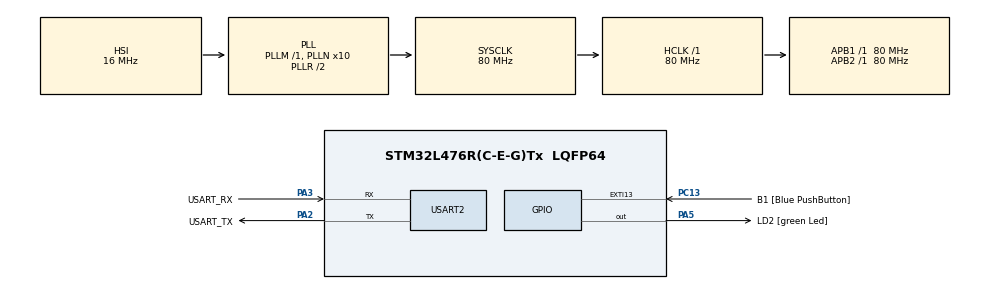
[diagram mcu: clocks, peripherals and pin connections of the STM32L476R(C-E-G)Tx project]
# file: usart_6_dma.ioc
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Dma.Request0=USART2_RX
Dma.USART2_RX.0.Direction=DMA_PERIPH_TO_MEMORY
Dma.USART2_RX.0.Instance=DMA1_Channel6
Dma.USART2_RX.0.MemDataAlignment=DMA_MDATAALIGN_BYTE
Dma.USART2_RX.0.MemInc=DMA_MINC_ENABLE
Dma.USART2_RX.0.Mode=DMA_NORMAL
Dma.USART2_RX.0.PeriphDataAlignment=DMA_PDATAALIGN_BYTE
Dma.USART2_RX.0.PeriphInc=DMA_PINC_DISABLE
Dma.USART2_RX.0.Priority=DMA_PRIORITY_LOW
Mcu.Family=STM32L4
Mcu.Name=STM32L476R(C-E-G)Tx
Mcu.Package=LQFP64
NVIC.DMA1_Channel6_IRQn=true\:0\:0\:false\:false\:true\:false\:true\:true
NVIC.PriorityGroup=NVIC_PRIORITYGROUP_2
NVIC.USART2_IRQn=true\:1\:0\:true\:false\:true\:true\:true\:true
PA13\ (JTMS-SWDIO).GPIO_Label=TMS
PA13\ (JTMS-SWDIO).Mode=Serial_Wire
PA13\ (JTMS-SWDIO).Signal=SYS_JTMS-SWDIO
PA14\ (JTCK-SWCLK).GPIO_Label=TCK
PA14\ (JTCK-SWCLK).Mode=Serial_Wire
PA14\ (JTCK-SWCLK).Signal=SYS_JTCK-SWCLK
PA2.GPIO_Label=USART_TX
PA2.GPIO_Mode=GPIO_MODE_AF_PP
PA2.GPIO_PuPd=GPIO_NOPULL
PA2.GPIO_Speed=GPIO_SPEED_FREQ_VERY_HIGH
PA2.Mode=Asynchronous
PA2.Signal=USART2_TX
PA3.GPIO_Label=USART_RX
PA3.GPIO_Mode=GPIO_MODE_AF_PP
PA3.GPIO_PuPd=GPIO_NOPULL
PA3.GPIO_Speed=GPIO_SPEED_FREQ_VERY_HIGH
PA3.Mode=Asynchronous
PA3.Signal=USART2_RX
PA5.GPIO_Label=LD2 [green Led]
PA5.GPIO_ModeDefaultOutputPP=GPIO_MODE_OUTPUT_PP
PA5.GPIO_PuPd=GPIO_NOPULL
PA5.GPIO_Speed=GPIO_SPEED_FREQ_LOW
PA5.Signal=GPIO_Output
PB3\ (JTDO-TRACESWO).GPIO_Label=SWO
PB3\ (JTDO-TRACESWO).Signal=SYS_JTDO-SWO
PC13.GPIO_Label=B1 [Blue PushButton]
PC13.GPIO_ModeDefaultEXTI=GPIO_MODE_IT_FALLING
PC13.GPIO_PuPd=GPIO_NOPULL
PC13.Signal=GPXTI13
PC14-OSC32_IN\ (PC14).Mode=LSE-External-Oscillator
PC14-OSC32_IN\ (PC14).Signal=RCC_OSC32_IN
PC15-OSC32_OUT\ (PC15).Mode=LSE-External-Oscillator
PC15-OSC32_OUT\ (PC15).Signal=RCC_OSC32_OUT
PH0-OSC_IN\ (PH0).Signal=RCC_OSC_IN
PH1-OSC_OUT\ (PH1).Signal=RCC_OSC_OUT
ProjectManager.HeapSize=0x200
ProjectManager.StackSize=0x400
ProjectManager.TargetToolchain=STM32CubeIDE
RCC.ADCFreq_Value=64000000
RCC.AHBFreq_Value=80000000
RCC.APB1Freq_Value=80000000
RCC.APB1TimFreq_Value=80000000
RCC.APB2Freq_Value=80000000
RCC.APB2TimFreq_Value=80000000
RCC.CortexFreq_Value=80000000
RCC.HCLKFreq_Value=80000000
RCC.HSE_VALUE=8000000
RCC.HSI_VALUE=16000000
RCC.MSI_VALUE=4000000
RCC.PLLN=10
RCC.PLLSourceVirtual=RCC_PLLSOURCE_HSI
RCC.PREFETCH_ENABLE=1
RCC.SYSCLKFreq_VALUE=80000000
RCC.SYSCLKSource=RCC_SYSCLKSOURCE_PLLCLK
RCC.USBFreq_Value=64000000
RCC.VCOOutputFreq_Value=160000000
USART2.VirtualMode-Asynchronous=VM_ASYNC
board=NUCLEO-L476RG

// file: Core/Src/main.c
/* USER CODE BEGIN Header */
/**
  ******************************************************************************
  * @file           : main.c
  * @brief          : Main program body
  ******************************************************************************
  * @attention
  *
  * Copyright (c) 2022 STMicroelectronics.
  * All rights reserved.
  *
  * This software is licensed under terms that can be found in the LICENSE file
  * in the root directory of this software component.
  * If no LICENSE file comes with this software, it is provided AS-IS.
  *
  ******************************************************************************
  */
/* USER CODE END Header */
#include "main.h"

/* USER CODE BEGIN Includes */
#include "string.h"

/* USER CODE END Includes */

 UART_HandleTypeDef huart2;
DMA_HandleTypeDef hdma_usart2_rx;

/* USER CODE BEGIN PV */
char lf[] = "\n\r";

/* USER CODE END PV */

void SystemClock_Config(void);
static void MX_GPIO_Init(void);
static void MX_DMA_Init(void);
static void MX_USART2_UART_Init(void);

/* USER CODE BEGIN 0 */

//#define RxBuf_SIZE   512
//#define MainBuf_SIZE 2048

#define RxBuf_SIZE   10
#define MainBuf_SIZE 20

uint8_t RxBuf[RxBuf_SIZE];
uint8_t MainBuf[MainBuf_SIZE];

uint16_t oldPos = 0;
uint16_t newPos = 0;

void HAL_UARTEx_RxEventCallback(UART_HandleTypeDef *huart, uint16_t Size)
{
	if (huart->Instance == USART2)
	{
		oldPos = newPos;  // Update the last position before copying new data

		/* If the data in large and it is about to exceed the buffer size, we have to route it to the start of the buffer
		 * This is to maintain the circular buffer
		 * The old data in the main buffer will be overlapped
		 */
		if (oldPos+Size > MainBuf_SIZE)  // If the current position + new data size is greater than the main buffer
		{
			uint16_t datatocopy = MainBuf_SIZE-oldPos;  // find out how much space is left in the main buffer
			memcpy ((uint8_t *)MainBuf+oldPos, RxBuf, datatocopy);  // copy data in that remaining space

			oldPos = 0;  // point to the start of the buffer
			memcpy ((uint8_t *)MainBuf, (uint8_t *)RxBuf+datatocopy, (Size-datatocopy));  // copy the remaining data
			newPos = (Size-datatocopy);  // update the position
		}

		/* if the current position + new data size is less than the main buffer
		 * we will simply copy the data into the buffer and update the position
		 */
		else
		{
			memcpy ((uint8_t *)MainBuf+oldPos, RxBuf, Size);
			newPos = Size+oldPos;
		}

		/* start the DMA again */
		HAL_UARTEx_ReceiveToIdle_DMA(&huart2, (uint8_t *) RxBuf, RxBuf_SIZE);
		__HAL_DMA_DISABLE_IT(&hdma_usart2_rx, DMA_IT_HT);

	}

	/****************** PROCESS (Little) THE DATA HERE *********************/

	/* Let's say we want to check for the keyword "OK" within our incoming DATA */
	for (int i=0; i<Size; i++)
	{
		if ((RxBuf[i] == 'O') && (RxBuf[i+1] == 'K'))
		{
			HAL_GPIO_TogglePin(GPIOA, GPIO_PIN_5);
		}
	}

	//			HAL_Delay(100);
	//			HAL_UART_Transmit(&huart2, (uint8_t *)RxBuf, sizeof(RxBuf), HAL_MAX_DELAY);
	//			HAL_UART_Transmit(&huart2, (uint8_t*)lf, sizeof(lf), HAL_MAX_DELAY);

	memset(RxBuf, 0, sizeof RxBuf);

	HAL_Delay(100);
	HAL_UART_Transmit(&huart2, (uint8_t *)MainBuf, sizeof(MainBuf), HAL_MAX_DELAY);
	HAL_UART_Transmit(&huart2, (uint8_t*)lf, sizeof(lf), HAL_MAX_DELAY);

}

/* USER CODE END 0 */

int main(void)
{

  /* MCU Configuration--------------------------------------------------------*/

  /* Reset of all peripherals, Initializes the Flash interface and the Systick. */
  HAL_Init();

  /* Configure the system clock */
  SystemClock_Config();

  /* Initialize all configured peripherals */
  MX_GPIO_Init();
  MX_DMA_Init();
  MX_USART2_UART_Init();
  /* USER CODE BEGIN 2 */
  HAL_UARTEx_ReceiveToIdle_DMA(&huart2, RxBuf, RxBuf_SIZE);
  __HAL_DMA_DISABLE_IT(&hdma_usart2_rx, DMA_IT_HT);

  /* USER CODE END 2 */

  /* Infinite loop */
  while (1)
  {

  }
}

void SystemClock_Config(void)
{
  RCC_OscInitTypeDef RCC_OscInitStruct = {0};
  RCC_ClkInitTypeDef RCC_ClkInitStruct = {0};

  /** Configure the main internal regulator output voltage
  */
  if (HAL_PWREx_ControlVoltageScaling(PWR_REGULATOR_VOLTAGE_SCALE1) != HAL_OK)
  {
    Error_Handler();
  }

  /** Initializes the RCC Oscillators according to the specified parameters
  * in the RCC_OscInitTypeDef structure.
  */
  RCC_OscInitStruct.OscillatorType = RCC_OSCILLATORTYPE_HSI;
  RCC_OscInitStruct.HSIState = RCC_HSI_ON;
  RCC_OscInitStruct.HSICalibrationValue = RCC_HSICALIBRATION_DEFAULT;
  RCC_OscInitStruct.PLL.PLLState = RCC_PLL_ON;
  RCC_OscInitStruct.PLL.PLLSource = RCC_PLLSOURCE_HSI;
  RCC_OscInitStruct.PLL.PLLM = 1;
  RCC_OscInitStruct.PLL.PLLN = 10;
  RCC_OscInitStruct.PLL.PLLP = RCC_PLLP_DIV7;
  RCC_OscInitStruct.PLL.PLLQ = RCC_PLLQ_DIV2;
  RCC_OscInitStruct.PLL.PLLR = RCC_PLLR_DIV2;
  if (HAL_RCC_OscConfig(&RCC_OscInitStruct) != HAL_OK)
  {
    Error_Handler();
  }

  /** Initializes the CPU, AHB and APB buses clocks
  */
  RCC_ClkInitStruct.ClockType = RCC_CLOCKTYPE_HCLK|RCC_CLOCKTYPE_SYSCLK
                              |RCC_CLOCKTYPE_PCLK1|RCC_CLOCKTYPE_PCLK2;
  RCC_ClkInitStruct.SYSCLKSource = RCC_SYSCLKSOURCE_PLLCLK;
  RCC_ClkInitStruct.AHBCLKDivider = RCC_SYSCLK_DIV1;
  RCC_ClkInitStruct.APB1CLKDivider = RCC_HCLK_DIV1;
  RCC_ClkInitStruct.APB2CLKDivider = RCC_HCLK_DIV1;

  if (HAL_RCC_ClockConfig(&RCC_ClkInitStruct, FLASH_LATENCY_4) != HAL_OK)
  {
    Error_Handler();
  }
}

static void MX_USART2_UART_Init(void)
{

  huart2.Instance = USART2;
  huart2.Init.BaudRate = 115200;
  huart2.Init.WordLength = UART_WORDLENGTH_8B;
  huart2.Init.StopBits = UART_STOPBITS_1;
  huart2.Init.Parity = UART_PARITY_NONE;
  huart2.Init.Mode = UART_MODE_TX_RX;
  huart2.Init.HwFlowCtl = UART_HWCONTROL_NONE;
  huart2.Init.OverSampling = UART_OVERSAMPLING_16;
  huart2.Init.OneBitSampling = UART_ONE_BIT_SAMPLE_DISABLE;
  huart2.AdvancedInit.AdvFeatureInit = UART_ADVFEATURE_NO_INIT;
  if (HAL_UART_Init(&huart2) != HAL_OK)
  {
    Error_Handler();
  }

}

static void MX_DMA_Init(void)
{

  /* DMA controller clock enable */
  __HAL_RCC_DMA1_CLK_ENABLE();

  /* DMA interrupt init */
  /* DMA1_Channel6_IRQn interrupt configuration */
  HAL_NVIC_SetPriority(DMA1_Channel6_IRQn, 0, 0);
  HAL_NVIC_EnableIRQ(DMA1_Channel6_IRQn);

}

static void MX_GPIO_Init(void)
{
  GPIO_InitTypeDef GPIO_InitStruct = {0};

  /* GPIO Ports Clock Enable */
  __HAL_RCC_GPIOC_CLK_ENABLE();
  __HAL_RCC_GPIOH_CLK_ENABLE();
  __HAL_RCC_GPIOA_CLK_ENABLE();
  __HAL_RCC_GPIOB_CLK_ENABLE();

  /*Configure GPIO pin Output Level */
  HAL_GPIO_WritePin(LD2_GPIO_Port, LD2_Pin, GPIO_PIN_RESET);

  /*Configure GPIO pin : B1_Pin */
  GPIO_InitStruct.Pin = B1_Pin;
  GPIO_InitStruct.Mode = GPIO_MODE_IT_FALLING;
  GPIO_InitStruct.Pull = GPIO_NOPULL;
  HAL_GPIO_Init(B1_GPIO_Port, &GPIO_InitStruct);

  /*Configure GPIO pin : LD2_Pin */
  GPIO_InitStruct.Pin = LD2_Pin;
  GPIO_InitStruct.Mode = GPIO_MODE_OUTPUT_PP;
  GPIO_InitStruct.Pull = GPIO_NOPULL;
  GPIO_InitStruct.Speed = GPIO_SPEED_FREQ_LOW;
  HAL_GPIO_Init(LD2_GPIO_Port, &GPIO_InitStruct);

}

void Error_Handler(void)
{
  __disable_irq();
  while (1)
  {
  }
}
